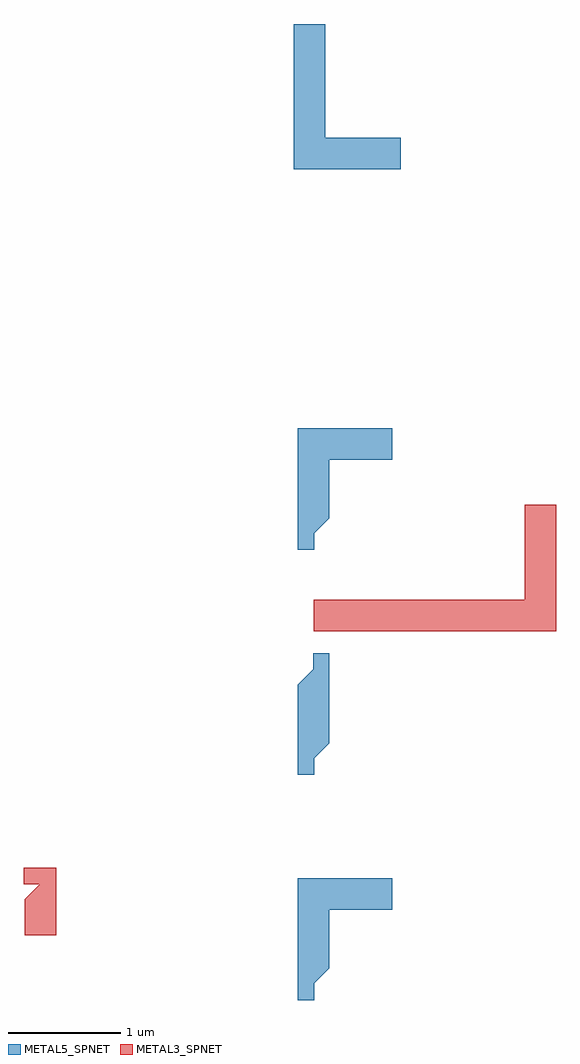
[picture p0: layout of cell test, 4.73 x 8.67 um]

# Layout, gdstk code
import gdstk
lib = gdstk.Library(unit=1e-6, precision=1e-09)
METAL3_SPNET = (28, 0)
METAL5_SPNET = (33, 0)

test = lib.new_cell('test')
test.add(gdstk.FlexPath([(2.43,0.855),(2.43,1.315),(2.42,1.315),(2.42,1.31)], 0.28, ends="flush", simple_path=True, layer=28, datatype=0))  # METAL3_SPNET
test.add(gdstk.FlexPath([(6.87,3.695),(4.855,3.695)], 0.28, ends=(0.14, 0), simple_path=True, layer=28, datatype=0))  # METAL3_SPNET
test.add(gdstk.FlexPath([(6.87,4.68),(6.87,3.695)], 0.28, ends=(0, 0.14), simple_path=True, layer=28, datatype=0))  # METAL3_SPNET
test.add(gdstk.FlexPath([(4.86,2.42),(4.855,2.42),(4.855,3.22),(4.85,3.22)], 0.28, ends="flush", simple_path=True, layer=33, datatype=0))  # METAL5_SPNET
test.add(gdstk.FlexPath([(4.86,0.42),(4.855,0.42),(4.855,1.22)], 0.28, ends=(0, 0.14), simple_path=True, layer=33, datatype=0))  # METAL5_SPNET
test.add(gdstk.FlexPath([(4.82,7.8),(5.63,7.8)], 0.28, ends=(0.14, 0), simple_path=True, layer=33, datatype=0))  # METAL5_SPNET
test.add(gdstk.FlexPath([(4.855,1.22),(5.555,1.22)], 0.28, ends=(0.14, 0), simple_path=True, layer=33, datatype=0))  # METAL5_SPNET
test.add(gdstk.FlexPath([(4.82,8.95),(4.82,7.8)], 0.28, ends=(0, 0.14), simple_path=True, layer=33, datatype=0))  # METAL5_SPNET
test.add(gdstk.FlexPath([(5.555,5.22),(4.855,5.22)], 0.28, ends=(0, 0.14), simple_path=True, layer=33, datatype=0))  # METAL5_SPNET
test.add(gdstk.FlexPath([(4.855,5.22),(4.855,4.42),(4.86,4.42)], 0.28, ends=(0.14, 0), simple_path=True, layer=33, datatype=0))  # METAL5_SPNET

lib.write_gds('test.gds')
